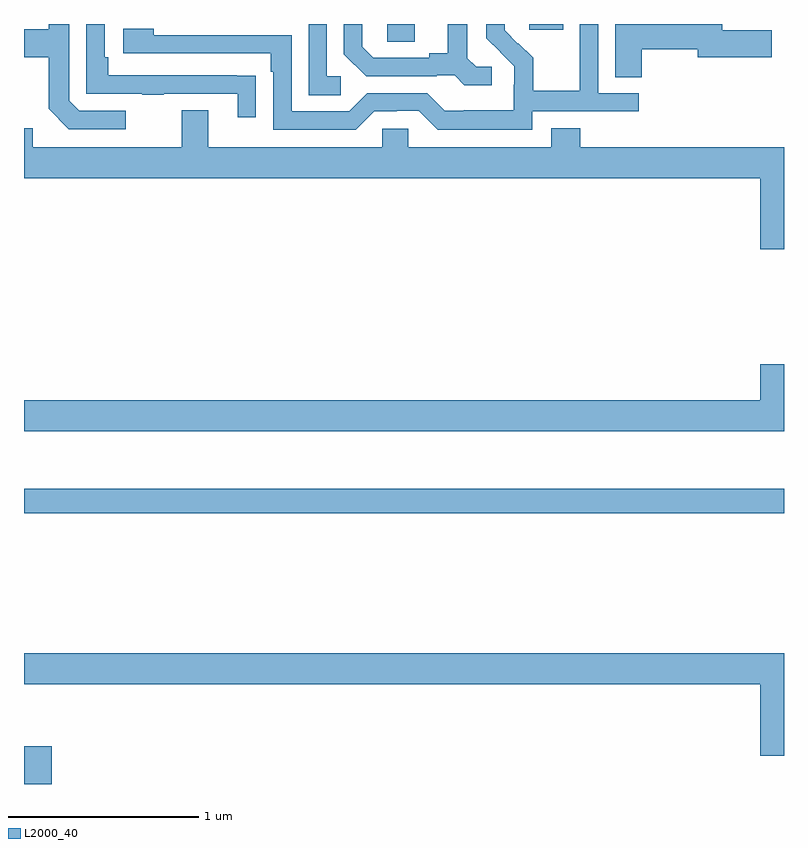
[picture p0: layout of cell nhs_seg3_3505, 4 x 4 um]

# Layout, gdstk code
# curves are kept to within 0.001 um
import gdstk
lib = gdstk.Library(unit=1e-6, precision=1e-09)
def R(c, l, rs):  # rectangles x0, y0, x1, y1
    for r in rs: c.add(gdstk.rectangle(r[:2], r[2:], *l))
def P(c, l, *ps):  # polygons
    for p in ps: c.add(gdstk.Polygon(p, *l))
L2000_40 = (2000, 40)

nhs_seg3_3505 = lib.new_cell('nhs_seg3_3505')
R(nhs_seg3_3505, L2000_40, [(293,692.4,293.147,692.599), (293,693.826,297,693.955), (294.912,696.307,295.057,696.4), (295.658,696.369,295.837,696.4)])
P(nhs_seg3_3505, L2000_40, [(294.221,696.128),(294.119,696.128),(294.119,696.129),(293.444,696.129),(293.444,696.226),(293.424,696.226),(293.424,696.4),(293.328,696.4),(293.328,696.033),(293.623,696.033),(293.623,696.028),(293.735,696.028),(293.735,696.033),(294.125,696.033),(294.125,695.91),(294.221,695.91)],
  [(295.674,695.94),(296.236,695.94),(296.236,696.036),(296.022,696.036),(296.022,696.4),(295.926,696.4),(295.926,696.272),(295.924,696.272),(295.924,696.049),(295.679,696.049),(295.679,696.223),(295.602,696.3),(295.599,696.297),(295.529,696.368),(295.529,696.4),(295.434,696.4),(295.434,696.326),(295.58,696.178),(295.58,696.081),(295.578,696.081),(295.578,695.947),(295.315,695.947),(295.315,695.943),(295.215,695.943),(295.122,696.036),(294.807,696.036),(294.711,695.94),(294.408,695.94),(294.408,696.342),(293.684,696.342),(293.684,696.376),(293.523,696.376),(293.523,696.246),(294.299,696.246),(294.299,696.149),(294.312,696.149),(294.312,695.844),(294.747,695.844),(294.843,695.94),(294.962,695.94),(294.962,695.943),(295.077,695.943),(295.177,695.843),(295.674,695.843)],
  [(294.667,696.126),(294.594,696.126),(294.594,696.4),(294.498,696.4),(294.498,696.025),(294.667,696.025)],
  [(295.462,696.174),(295.38,696.174),(295.333,696.221),(295.333,696.4),(295.229,696.4),(295.229,696.245),(295.133,696.245),(295.133,696.222),(294.838,696.222),(294.781,696.279),(294.781,696.4),(294.684,696.4),(294.684,696.242),(294.8,696.126),(295.172,696.126),(295.172,696.129),(295.266,696.129),(295.318,696.077),(295.462,696.077)],
  [(293.536,695.943),(293.292,695.943),(293.238,695.997),(293.238,696.4),(293.13,696.4),(293.13,696.373),(293,696.373),(293,696.226),(293.13,696.226),(293.13,695.953),(293.235,695.847),(293.536,695.847)],
  [(296.25,696.268),(296.546,696.268),(296.546,696.226),(296.935,696.226),(296.935,696.368),(296.674,696.368),(296.674,696.4),(296.111,696.4),(296.111,696.121),(296.25,696.121)],
  [(297,695.752),(295.928,695.752),(295.928,695.851),(295.775,695.851),(295.775,695.752),(295.023,695.752),(295.023,695.85),(294.885,695.85),(294.885,695.752),(293.971,695.752),(293.971,695.947),(293.831,695.947),(293.831,695.752),(293.047,695.752),(293.047,695.851),(293,695.851),(293,695.588),(296.876,695.588),(296.876,695.214),(297,695.214)],
  [(297,694.609),(296.876,694.609),(296.876,694.42),(293,694.42),(293,694.256),(297,694.256)],
  [(297,693.088),(293,693.088),(293,692.924),(296.876,692.924),(296.876,692.55),(297,692.55)])

lib.write_gds('nhs_seg3_3505.gds')
